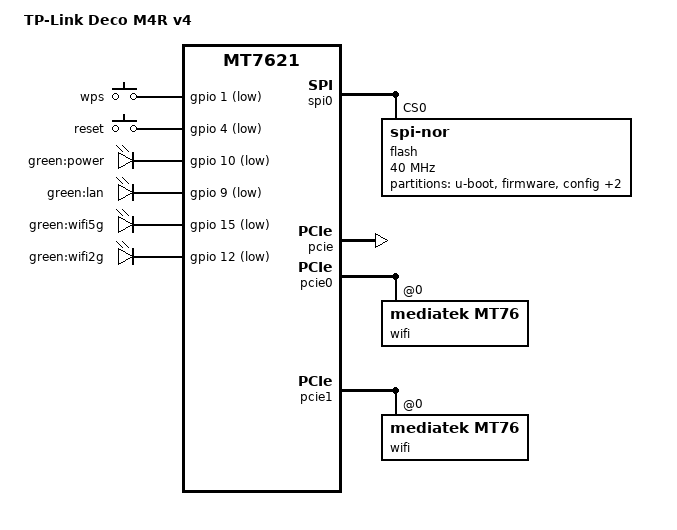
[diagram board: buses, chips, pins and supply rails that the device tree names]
// SPDX-License-Identifier: GPL-2.0-only

#include "mt7621.dtsi"

#include <dt-bindings/gpio/gpio.h>
#include <dt-bindings/input/input.h>

/ {
	compatible = "tplink,deco-m4r-v4", "mediatek,mt7621-soc";
	model = "TP-Link Deco M4R v4";

	aliases {
		label-mac-device = &gmac0;
		led-boot = &led_power;
		led-failsafe = &led_power;
		led-running = &led_power;
		led-upgrade = &led_power;
	};

	chosen {
		bootargs = "console=ttyS0,115200n8";
	};

	keys {
		compatible = "gpio-keys";

		wps {
			label = "wps";
			gpios = <&gpio 1 GPIO_ACTIVE_LOW>;
			debounce-interval = <60>;
			linux,code = <KEY_WPS_BUTTON>;
		};

		reset {
			label = "reset";
			gpios = <&gpio 4 GPIO_ACTIVE_LOW>;
			debounce-interval = <60>;
			linux,code = <KEY_RESTART>;
		};
	};

	leds {
		compatible = "gpio-leds";

		// unused: RSSI (5 green), switch (2), rgb (13, 14, 15)

		led_power: power {
			label = "green:power";
			gpios = <&gpio 10 GPIO_ACTIVE_LOW>;
		};

		lan {
			label = "green:lan";
			gpios = <&gpio 9 GPIO_ACTIVE_LOW>;
		};

		wifi5g {
			label = "green:wifi5g";
			gpios = <&gpio 15 GPIO_ACTIVE_LOW>;
			linux,default-trigger = "phy1tpt";
		};

		wifi2g {
			label = "green:wifi2g";
			gpios = <&gpio 12 GPIO_ACTIVE_LOW>;
			linux,default-trigger = "phy0tpt";
		};
	};
};

&spi0 {
	status = "okay";

	flash@0 {
		compatible = "jedec,spi-nor";
		reg = <0>;
		spi-max-frequency = <40000000>;

		partitions {
			compatible = "fixed-partitions";
			#address-cells = <1>;
			#size-cells = <1>;

			partition@0 {
				label = "u-boot";
				reg = <0x0 0x40000>;
				read-only;
			};

			partition@40000 {
				label = "firmware";
				compatible = "denx,uimage";
				reg = <0x40000 0xf60000>;
			};

			config: partition@fa0000 {
				label = "config";
				reg = <0xfa0000 0x010000>;
				read-only;
			};

			partition@fb0000 {
				label = "tplink";
				reg = <0xfb0000 0x040000>;
				read-only;
			};

			radio: partition@ff0000 {
				label = "radio";
				reg = <0xff0000 0x10000>;
				read-only;
			};
		};
	};
};

&state_default {
	gpio {
		groups =  "i2c", "uart2", "uart3", "jtag", "wdt";
		function = "gpio";
	};
};

&ethernet {
	pinctrl-names = "default";
	pinctrl-0 = <&rgmii1_pins &mdio_pins>;
};

&pcie {
	status = "okay";
};

&pcie0 {
	wifi@0,0 {
		compatible = "mediatek,mt76";
		reg = <0x0000 0 0 0 0>;
		mediatek,mtd-eeprom = <&radio 0x0>;
		mtd-mac-address = <&config 0x8>;
		mtd-mac-address-increment = <1>;
		ieee80211-freq-limit = <2400000 2500000>;
	};
};

&pcie1 {
	wifi@0,0 {
		compatible = "mediatek,mt76";
		reg = <0x0000 0 0 0 0>;
		mediatek,mtd-eeprom = <&radio 0x8000>;
		mtd-mac-address = <&config 0x8>;
		mtd-mac-address-increment = <2>;
		ieee80211-freq-limit = <5000000 6000000>;
	};
};

&gmac0 {
	mtd-mac-address = <&config 0x8>;
};

&switch0 {
	ports {
		port@0 {
			status = "okay";
			label = "wan";
		};

		port@1 {
			status = "okay";
			label = "lan1";
		};
	};
};
